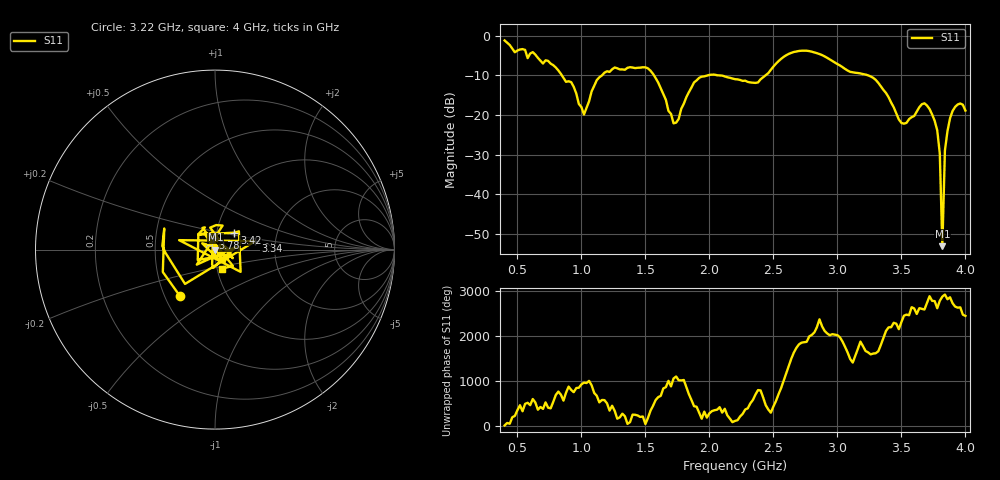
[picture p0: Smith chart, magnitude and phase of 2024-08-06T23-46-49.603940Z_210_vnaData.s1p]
!Created with skrf (http://scikit-rf.org).
# Hz S RI R 50.0
!freq ReS11 ImS11
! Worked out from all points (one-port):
!   181 points, 400 MHz to 4 GHz, reference 50 ohm
!   lowest |S11| = -53.1 dB at 3.82 GHz (marker M1), VSWR 1.00, Z = 50.2 - j0.0051 ohm
!   |S11| at or under -10 dB: 1.567 GHz to 1.988 GHz (421.2 MHz wide, 23.7 % of centre); 2.078 GHz to 2.439 GHz (361 MHz wide, 16 % of centre); 3.24 GHz to end of sweep (the widest 3 of 4)
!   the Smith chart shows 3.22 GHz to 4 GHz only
!   S11 on the Smith chart (normalised r, x): 3.22 GHz: 0.60, -0.34; 3.34 GHz: 1.57, +0.16; 3.42 GHz: 1.22, +0.23; 3.78 GHz: 0.97, +0.12; 4 GHz: 1.06, -0.23
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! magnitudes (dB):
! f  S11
! 400 MHz  -1.2
! 860 MHz  -10.7
! 920 MHz  -11.7
! 1.02 GHz  -19.9
! 1.12 GHz  -11.2
! 1.3 GHz  -8.5
! 1.52 GHz  -8.2
! 1.6 GHz  -11.8
! 1.72 GHz  -22.1
! 1.76 GHz  -21.0
! 1.92 GHz  -10.6
! 2.2 GHz  -11.0
! 2.38 GHz  -11.8
! 2.66 GHz  -4.1
! 3.1 GHz  -9.1
! 3.22 GHz  -9.8
! 3.34 GHz  -12.8
! 3.42 GHz  -16.9
! 3.5 GHz  -22.0
! 3.56 GHz  -21.0
! 3.68 GHz  -17.0
! 3.78 GHz  -23.9
! 3.8 GHz  -29.7
! 3.82 GHz  -53.1
! 3.84 GHz  -28.9
! 3.86 GHz  -24.1
! 3.92 GHz  -17.9
! 4 GHz  -18.9
